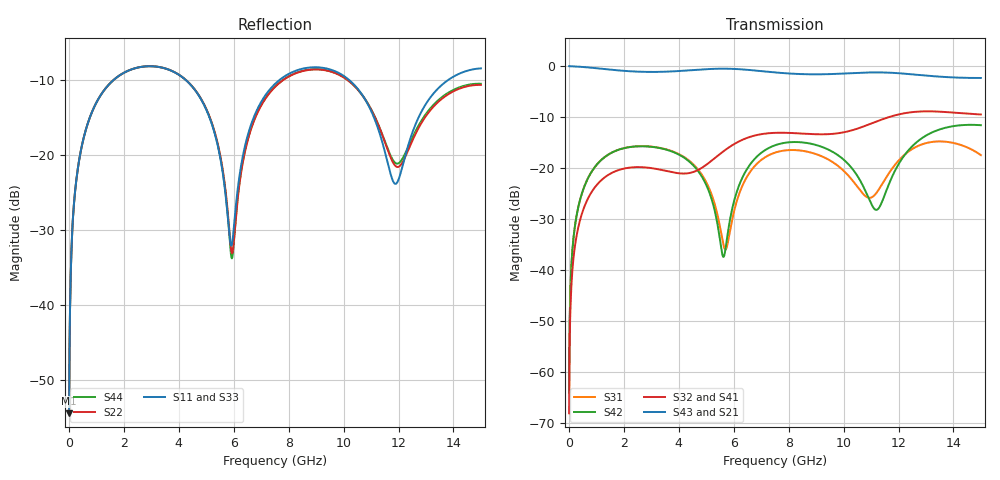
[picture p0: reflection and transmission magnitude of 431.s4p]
! Created with skrf 1.8.0 (http://scikit-rf.org).
# GHz S RI R 50.0
!freq ReS11 ImS11 ReS12 ImS12 ReS13 ImS13
! ReS14 ImS14
! ReS21 ImS21 ReS22 ImS22 ReS23 ImS23
! ReS24 ImS24
! ReS31 ImS31 ReS32 ImS32 ReS33 ImS33
! ReS34 ImS34
! ReS41 ImS41 ReS42 ImS42 ReS43 ImS43
! ReS44 ImS44
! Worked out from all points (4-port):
!   2499 points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, 5 MHz to 15 GHz, reference 50 ohm
!   strongest paths, dB at 5 MHz, 3.476 GHz, 7.19 GHz, 11.1 GHz, 15 GHz:
!     S43: 0.0, -1.1, -1.1, -1.2, -2.3
!     S21: 0.0, -1.1, -1.1, -1.2, -2.3
!     S32: -68.1, -20.5, -13.2, -11.1, -9.5
!     S41: -68.1, -20.6, -13.2, -11.1, -9.5
!     S42: -64.1, -16.3, -16.3, -27.9, -11.6
!     S31: -64.1, -16.2, -17.7, -25.5, -17.5
!   lowest |S11| = -54.4 dB at 5 MHz (marker M1), VSWR 1.00, Z = 50.2 + j0.115 ohm
!   |S11| at or under -10 dB: start of sweep to 1.625 GHz; 4.251 GHz to 7.667 GHz (3.416 GHz wide, 57.3 % of centre); 10.2 GHz to 13.81 GHz (3.607 GHz wide, 30 % of centre)
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0.005  0.00151 0.00115  0.9985 -0.00295  7.63e-05 0.000618  -7.4e-05 -0.000384
       0.9985 -0.00295  0.00151 0.00115  -7.4e-05 -0.000384  7.62e-05 0.000618
       7.63e-05 0.000618  -7.4e-05 -0.000384  0.00151 0.00115  0.9985 -0.00295
       -7.4e-05 -0.000384  7.62e-05 0.000618  0.9985 -0.00295  0.00151 0.00115
0.3626511  0.0263 0.0868  0.9637 -0.2117  0.0127 0.0422  -0.0105 -0.0258
           0.9637 -0.2117  0.0263 0.0868  -0.0105 -0.0258  0.0127 0.0422
           0.0127 0.0422  -0.0105 -0.0258  0.0263 0.0868  0.9637 -0.2117
           -0.0105 -0.0258  0.0127 0.0422  0.9637 -0.2117  0.0263 0.0868
1.619545  0.258 0.1817  0.574 -0.7147  0.1278 0.0669  -0.0905 -0.0102
          0.574 -0.7147  0.258 0.1819  -0.0906 -0.0101  0.1274 0.0675
          0.1278 0.0669  -0.0906 -0.0101  0.2579 0.1818  0.574 -0.7147
          -0.0905 -0.0102  0.1274 0.0675  0.574 -0.7147  0.258 0.1818
5.78366  0.0264 -0.028  -0.9313 -0.144  -0.0148 0.011  -0.0208 0.1553
         -0.9313 -0.144  0.0243 -0.0336  -0.0185 0.1555  0.0168 0.0158
         -0.0148 0.011  -0.0185 0.1555  0.0276 -0.0262  -0.9314 -0.1438
         -0.0208 0.1553  0.0168 0.0158  -0.9314 -0.1438  0.0226 -0.0321
9.247603  0.378 -0.048  0.0245 0.8315  0.1079 -0.0703  0.2057 -0.0573
          0.0245 0.8315  0.3679 -0.0289  0.205 -0.0617  0.1132 -0.1128
          0.1079 -0.0703  0.205 -0.0617  0.3781 -0.0501  0.0232 0.8312
          0.2057 -0.0573  0.1132 -0.1128  0.0232 0.8312  0.3694 -0.0258
11.89246  0.0641 -0.0038  0.8457 0.1282  -0.032 0.1044  0.0465 -0.3261
          0.8457 0.1282  0.0824 -0.0184  0.0393 -0.3275  0.014 0.0954
          -0.032 0.1044  0.0393 -0.3275  0.0599 -0.00439  0.8453 0.1306
          0.0465 -0.3261  0.014 0.0954  0.8453 0.1306  0.0869 -0.0157
15  0.3772 -0.0207  0.1314 -0.7538  0.1327 -0.016  -0.3331 -0.000411
    0.1314 -0.7538  0.2928 0.00957  -0.3352 0.0117  0.1696 -0.201
    0.1327 -0.016  -0.3352 0.0117  0.3768 -0.0152  0.136 -0.7524
    -0.3331 -0.000411  0.1696 -0.201  0.136 -0.7524  0.2982 0.00578
